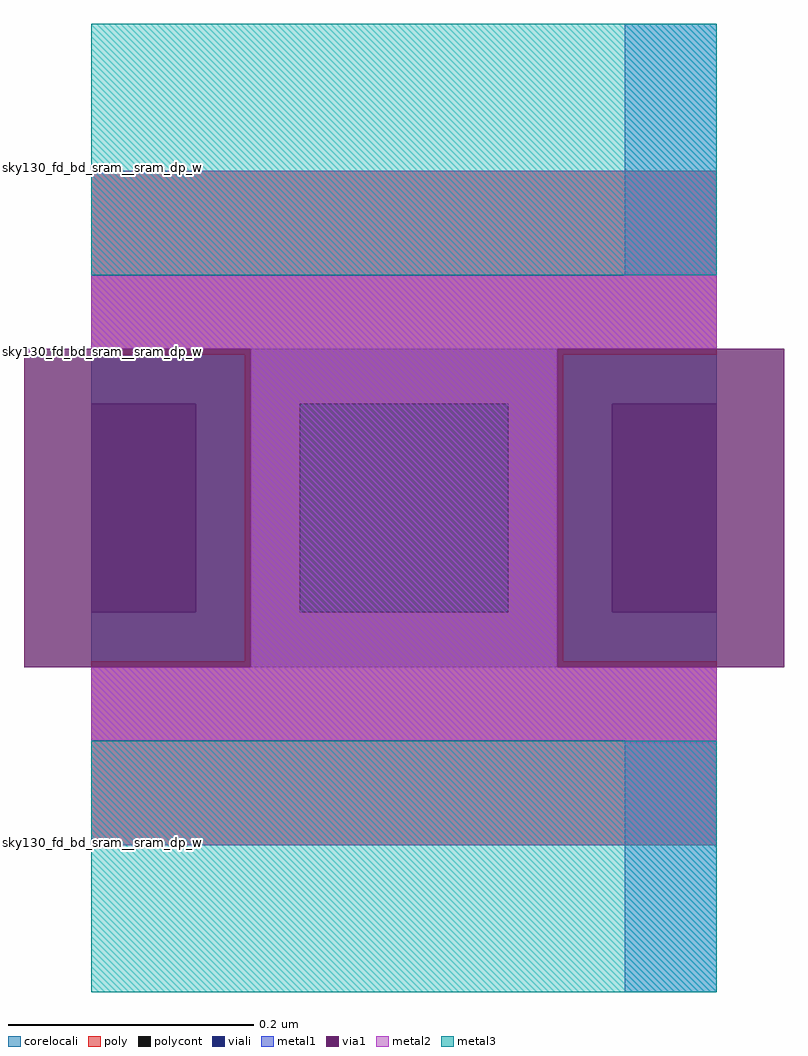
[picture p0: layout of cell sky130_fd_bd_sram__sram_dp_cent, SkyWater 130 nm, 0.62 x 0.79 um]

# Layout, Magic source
magic
tech sky130A
magscale 1 2
<< poly >>
rect 0 104 102 134
rect 25 96 77 104
rect 25 62 34 96
rect 68 62 77 96
rect 25 54 77 62
rect 0 24 102 54
<< polycont >>
rect 34 62 68 96
<< corelocali >>
rect 0 96 102 105
rect 17 62 34 96
rect 68 62 85 96
rect 0 53 102 62
<< viali >>
rect 0 62 17 96
rect 85 62 102 96
<< metal1 >>
rect 87 117 102 158
rect 0 105 102 117
rect 26 53 76 105
rect 0 41 102 53
rect 87 0 102 41
<< via1 >>
rect -11 96 26 105
rect -11 62 0 96
rect 0 62 17 96
rect 17 62 26 96
rect -11 53 26 62
rect 76 96 113 105
rect 76 62 85 96
rect 85 62 102 96
rect 102 62 113 96
rect 76 53 113 62
<< metal2 >>
rect 0 105 102 134
rect 26 53 76 105
rect 0 24 102 53
<< metal3 >>
rect 0 117 102 158
rect 0 0 102 41
use sky130_fd_bd_sram__sram_dp_wls_poly_sizing_opte  sky130_fd_bd_sram__sram_dp_wls_poly_sizing_opte_0
transform 1 0 0 0 1 104
box 0 0 1 1
use sky130_fd_bd_sram__sram_dp_wls_poly_sizing_optd  sky130_fd_bd_sram__sram_dp_wls_poly_sizing_optd_0
transform 1 0 0 0 1 24
box 0 0 1 1
use sky130_fd_bd_sram__sram_dp_wls_poly_sizing_opta  sky130_fd_bd_sram__sram_dp_wls_poly_sizing_opta_0
transform 1 0 0 0 1 134
box 0 0 1 1
<< properties >>
string GDS_FILE sky130_fd_bd_sram__sram_dp_cent.gds
string GDS_END 2770
string GDS_START 1430
<< end >>
